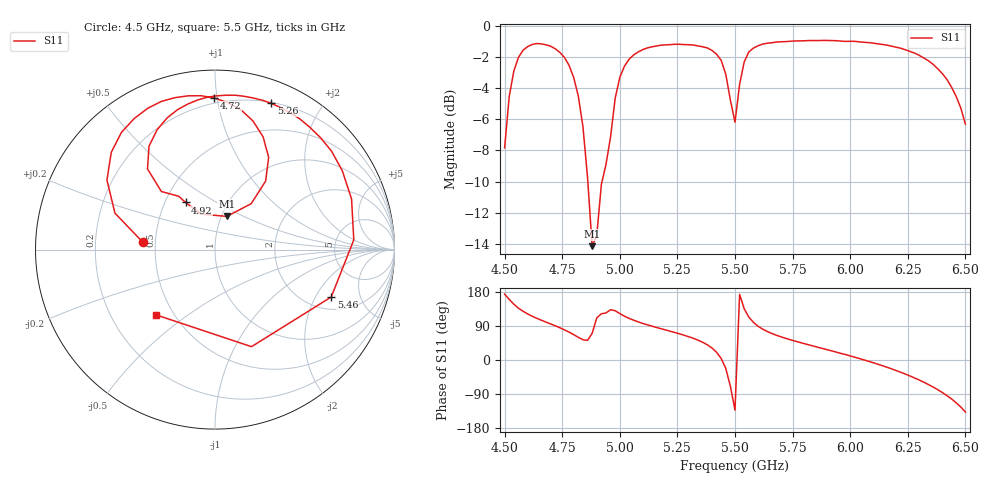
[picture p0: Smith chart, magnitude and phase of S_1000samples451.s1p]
! TOUCHSTONE file generated by CST MICROWAVE STUDIO
! Date and time: Fri Oct 28 05:25:40 2022
! Project name: L.cst
! Parameters = {Di=1.27; Epsilon_r=1.56; InnerDiameter=1.27; Length=2; Lf=10; Lg=60; OuterConductorThickness=0.2921; OuterDiameter=3.6; Wf=3; Wp=41.2; de=1.5; df=6.8; g=0.8; gx=0.45188; gy=1.54182; h=2.34; hf=1.524; px=14.1629; py=11.7813; w=9.7; wx=13.711; wy=10.2395}
! Header version: 2018
! Port assignment regex: !\s*Touchstone port\s*([0-9]+)\s*=\s*(CST MWS port|CST DS port)\s*([0-9]+|Zmin|Zmax)\s*\(\"(.*)\"\)(\s*mode\s*([0-9]+))?.*
! Touchstone port assignment:
! Touchstone port 1 = CST MWS port 1 ("")
# GHz S DB R 50
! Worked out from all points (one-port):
!   101 points, 4.5 GHz to 6.5 GHz, reference 50 ohm
!   lowest |S11| = -14.1 dB at 4.88 GHz (marker M1), VSWR 1.49, Z = 53 + j20.4 ohm
!   |S11| at or under -10 dB: 4.861 GHz to 4.923 GHz (61.63 MHz wide, 1.26 % of centre)
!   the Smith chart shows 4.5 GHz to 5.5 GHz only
!   S11 on the Smith chart (normalised r, x): 4.5 GHz: 0.42, +0.04; 4.72 GHz: 0.17, +0.98; 4.92 GHz: 0.63, +0.37; 5.26 GHz: 0.21, +1.44; 5.46 GHz: 2.64, -2.72; 5.5 GHz: 0.40, -0.38
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4.5  -7.83 174.0
4.54  -2.90 147.3
4.6  -1.33 121.5
4.72  -1.47 90.3
4.76  -2.03 79.4
4.82  -4.52 59.8
4.88  -14.15 70.4
4.92  -10.18 122.0
4.96  -7.12 132.7
5  -3.30 122.5
5.1  -1.52 96.5
5.26  -1.18 68.9
5.34  -1.29 52.3
5.4  -1.57 31.8
5.44  -2.21 4.0
5.46  -3.10 -22.2
5.48  -4.76 -69.4
5.5  -6.18 -132.3
5.52  -3.75 173.2
5.54  -2.31 135.1
5.56  -1.67 113.3
5.64  -1.11 75.3
5.76  -0.97 50.0
6  -0.98 10.8
6.14  -1.19 -15.1
6.26  -1.64 -42.3
6.4  -3.06 -85.9
6.5  -6.31 -137.2
